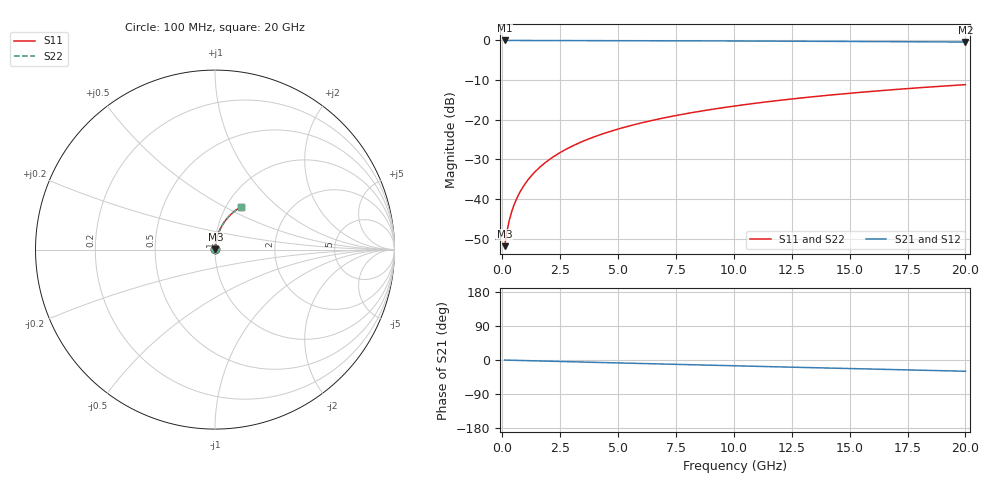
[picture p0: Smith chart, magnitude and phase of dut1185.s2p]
! Touchstone file exported from HFSS 2026.1.0
!  File:  C:/ffzhzh/LocalFiles/Ansys_Project_Files/temp_train_BSMRDL_1185_1783176219_55132.aedt
!  Generated:  10:44:55 PM Jul  4, 2026
!  Design:  BSMRDL
!  Project:  temp_train_BSMRDL_1185_1783176219_55132
! Variables:
!  h_bsmrdl = 3.27um
!  h_ox = 20um
!  h_rdl = 5um
!  h_sub = 80um
!  h_tmrdl = 5um
!  h_tsv = 80um
!  h_via = 3um
!  l_bsmrdl = 405.28um
!  l_sub = 805.28um
!  l_tmrdl = 200um
!  m_sub = 200um
!  pitch = 53.79um
!  r_tsv = 6um
!  s_tmrdl = 10um
!  w_bsmrdl = 26.81um
!  w_sub = 500um
!  w_tmrdl = 12um
!  x_tsv_center1 = 206um
!  x_tsv_center2 = 638.09um
!  x_tsv_center3 = 850.09um
!  x_tsv_center4 = 1282.18um
!  x_tsv_center5 = 1494.18um
!  x_tsv_center6 = 1926.27um
# GHz S MA R 50.000000
! Terminal data exported
! Port[1] = BSM_RDL1_1_T1
! Port[2] = BSM_RDL1_1_T2
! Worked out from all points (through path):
!   200 points, 100 MHz to 20 GHz, reference 50 ohm
!   highest |S21| = -0.02 dB at 100 MHz (marker M1); lowest = -0.4 dB at 20 GHz (marker M2)
!   group delay of S21, straight-line fit = 4.12 ps
!   lowest |S11| = -51.8 dB at 100 MHz (marker M3), VSWR 1.01, Z = 50.2 + j0.171 ohm
!   |S11| at or under -10 dB: start of sweep to end of sweep
!   |S22| runs from -51.8 to -11.2 dB; largest |S21 - S12| = 3.2e-15
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0.1  0.002557 41.8  0.9981 -0.2  0.9981 -0.2  0.002557 41.8
! Gamma 0 0 0 0
! Port Impedance 50 0 50 0
0.2  0.003917 58.8  0.998 -0.3  0.998 -0.3  0.003917 58.8
0.3  0.005387 66.3  0.9979 -0.5  0.9979 -0.5  0.005387 66.3
0.4  0.006868 70.5  0.9978 -0.6  0.9978 -0.6  0.006868 70.5
0.5  0.00835 73.3  0.9977 -0.8  0.9977 -0.8  0.00835 73.3
0.6  0.009836 75.3  0.9976 -0.9  0.9976 -0.9  0.009836 75.3
0.8  0.01283 77.9  0.9975 -1.3  0.9975 -1.3  0.01283 77.9
1.1  0.01735 80.0  0.9974 -1.7  0.9974 -1.7  0.01735 80.0
1.3  0.02039 80.8  0.9973 -2.0  0.9973 -2.0  0.02039 80.8
1.6  0.02495 81.5  0.9971 -2.5  0.9971 -2.5  0.02495 81.5
2.1  0.03258 82.0  0.9968 -3.3  0.9968 -3.3  0.03258 82.0
2.7  0.04172 81.9  0.9963 -4.2  0.9963 -4.2  0.04172 81.9
3.5  0.05387 81.3  0.9955 -5.4  0.9955 -5.4  0.05387 81.3
4.2  0.06443 80.6  0.9946 -6.5  0.9946 -6.5  0.06443 80.6
5  0.0764 79.6  0.9935 -7.7  0.9935 -7.7  0.0764 79.6
5.9  0.08975 78.4  0.9921 -9.1  0.9921 -9.1  0.08975 78.4
6.8  0.1029 77.2  0.9905 -10.5  0.9905 -10.5  0.1029 77.2
8.3  0.1246 75.1  0.9875 -12.7  0.9875 -12.7  0.1246 75.1
10.1  0.15 72.5  0.9834 -15.4  0.9834 -15.4  0.15 72.5
13.4  0.1948 67.9  0.9746 -20.3  0.9746 -20.3  0.1948 67.9
16.7  0.2372 63.3  0.9645 -25.0  0.9645 -25.0  0.2372 63.3
20  0.277 58.8  0.9534 -29.7  0.9534 -29.7  0.277 58.8
